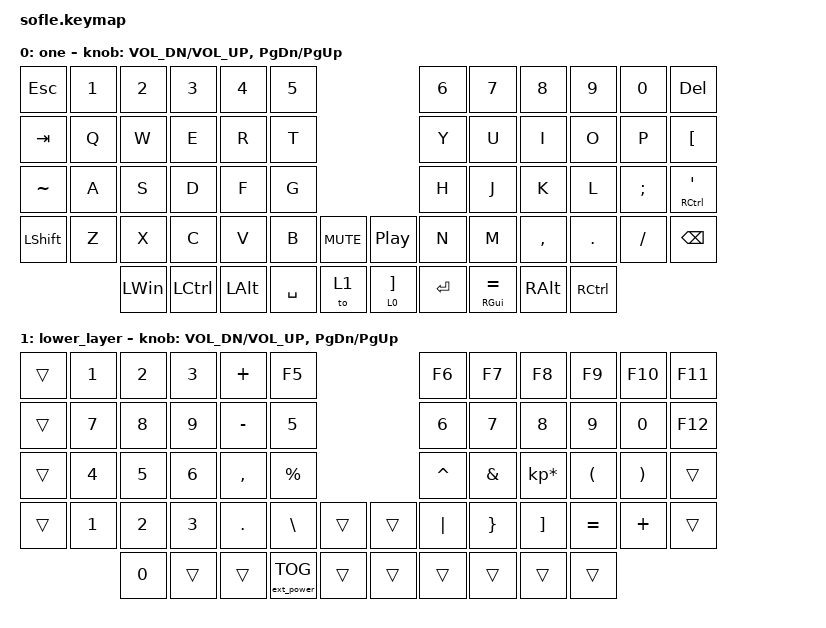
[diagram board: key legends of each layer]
/*
 * Copyright (c) 2020 The ZMK Contributors
 *
 * SPDX-License-Identifier: MIT
 */

#include <behaviors.dtsi>
#include <dt-bindings/zmk/ext_power.h>
#include <dt-bindings/zmk/keys.h>

/ {
    keymap {
        compatible = "zmk,keymap";

        one {
            // ------------------------------------------------------------------------------------------------------------
            // |  `    |  1  |  2  |  3   |  4   |  5   |                   |  6   |  7    |  8    |  9   |   0   |   \   |
            // |  TAB  |  Q  |  W  |  E   |  R   |  T   |                   |  Y   |  U    |  I    |  O   |   P   | BKSPC |
            // | C/ESC |  A  |  S  |  D   |  F   |  G   |                   |  H   |  J    |  K    |  L   |   ;   |  C/'  |
            // | SHIFT |  Z  |  X  |  C   |  V   |  B   |  MUTE  |  | PLAY  |  N   |  M    |  ,    |  .   |   /   | SHIFT |
            //               | CAPS| ALT  | GUI/-| SPACE|LOWER/[ |  |RAISE/]| ENTER|  GUI/=|  ALT  | CTRL |

            bindings = <
&kp ESCAPE      &kp N1  &kp N2        &kp N3     &kp N4        &kp N5                               &kp N6   &kp N7          &kp N8     &kp N9     &kp N0    &kp DELETE
&kp TAB         &kp Q   &kp W         &kp E      &kp R         &kp T                                &kp Y    &kp U           &kp I      &kp O      &kp P     &kp LEFT_BRACKET
&kp TILDE       &kp A   &kp S         &kp D      &kp F         &kp G                                &kp H    &kp J           &kp K      &kp L      &kp SEMI  &mt RCTRL SQT
&kp LEFT_SHIFT  &kp Z   &kp X         &kp C      &kp V         &kp B      &kp C_MUTE    &kp C_PP    &kp N    &kp M           &kp COMMA  &kp DOT    &kp FSLH  &kp BACKSPACE
                        &kp LEFT_WIN  &kp LCTRL  &kp LEFT_ALT  &kp SPACE  &to 1         &lt 0 RBKT  &kp RET  &mt RGUI EQUAL  &kp RALT   &kp RCTRL
            >;

            sensor-bindings = <&inc_dec_kp C_VOL_DN C_VOL_UP &inc_dec_kp PG_DN PG_UP>;
        };

        lower_layer {
            // ------------------------------------------------------------------------------------------------------------
            // |       |  F1 |  F2 |  F3  |  F4  |  F5  |                   |  F6  |  F7   |  F8   |  F9  |  F10  |  F11  |
            // |       |   1 |   2 |   3  |   4  |   5  |                   |   6  |   7   |   8   |   9  |    0  |  F12  |
            // |       |  !  |  @  |  #   |  $   |  %   |                   |  ^   |  &    |  *    |  (   |   )   |       |
            // |       |  -  |  _  |  [   |  {   |  \   |        |  |       |  |   |  }    |  ]    |  =   |   +   |       |
            //               |     |      |      |      |        |  |       |      |       |       |      |

            bindings = <
&trans  &kp NUMBER_1  &kp NUMBER_2  &kp NUMBER_3  &kp PLUS   &kp F5                               &kp F6     &kp F7    &kp F8           &kp F9     &kp F10   &kp F11
&trans  &kp N7        &kp N8        &kp N9        &kp MINUS  &kp N5                               &kp N6     &kp N7    &kp N8           &kp N9     &kp N0    &kp F12
&trans  &kp NUMBER_4  &kp N5        &kp NUMBER_6  &kp COMMA  &kp PRCNT                            &kp CARET  &kp AMPS  &kp KP_MULTIPLY  &kp LPAR   &kp RPAR  &trans
&trans  &kp NUMBER_1  &kp NUMBER_2  &kp NUMBER_3  &kp DOT    &kp BSLH           &trans    &trans  &kp PIPE   &kp RBRC  &kp RBKT         &kp EQUAL  &kp PLUS  &trans
                      &kp N0        &trans        &trans     &ext_power EP_TOG  &trans    &trans  &trans     &trans    &trans           &trans
            >;

            sensor-bindings = <&inc_dec_kp C_VOL_DN C_VOL_UP &inc_dec_kp PG_DN PG_UP>;
        };
    };
};
